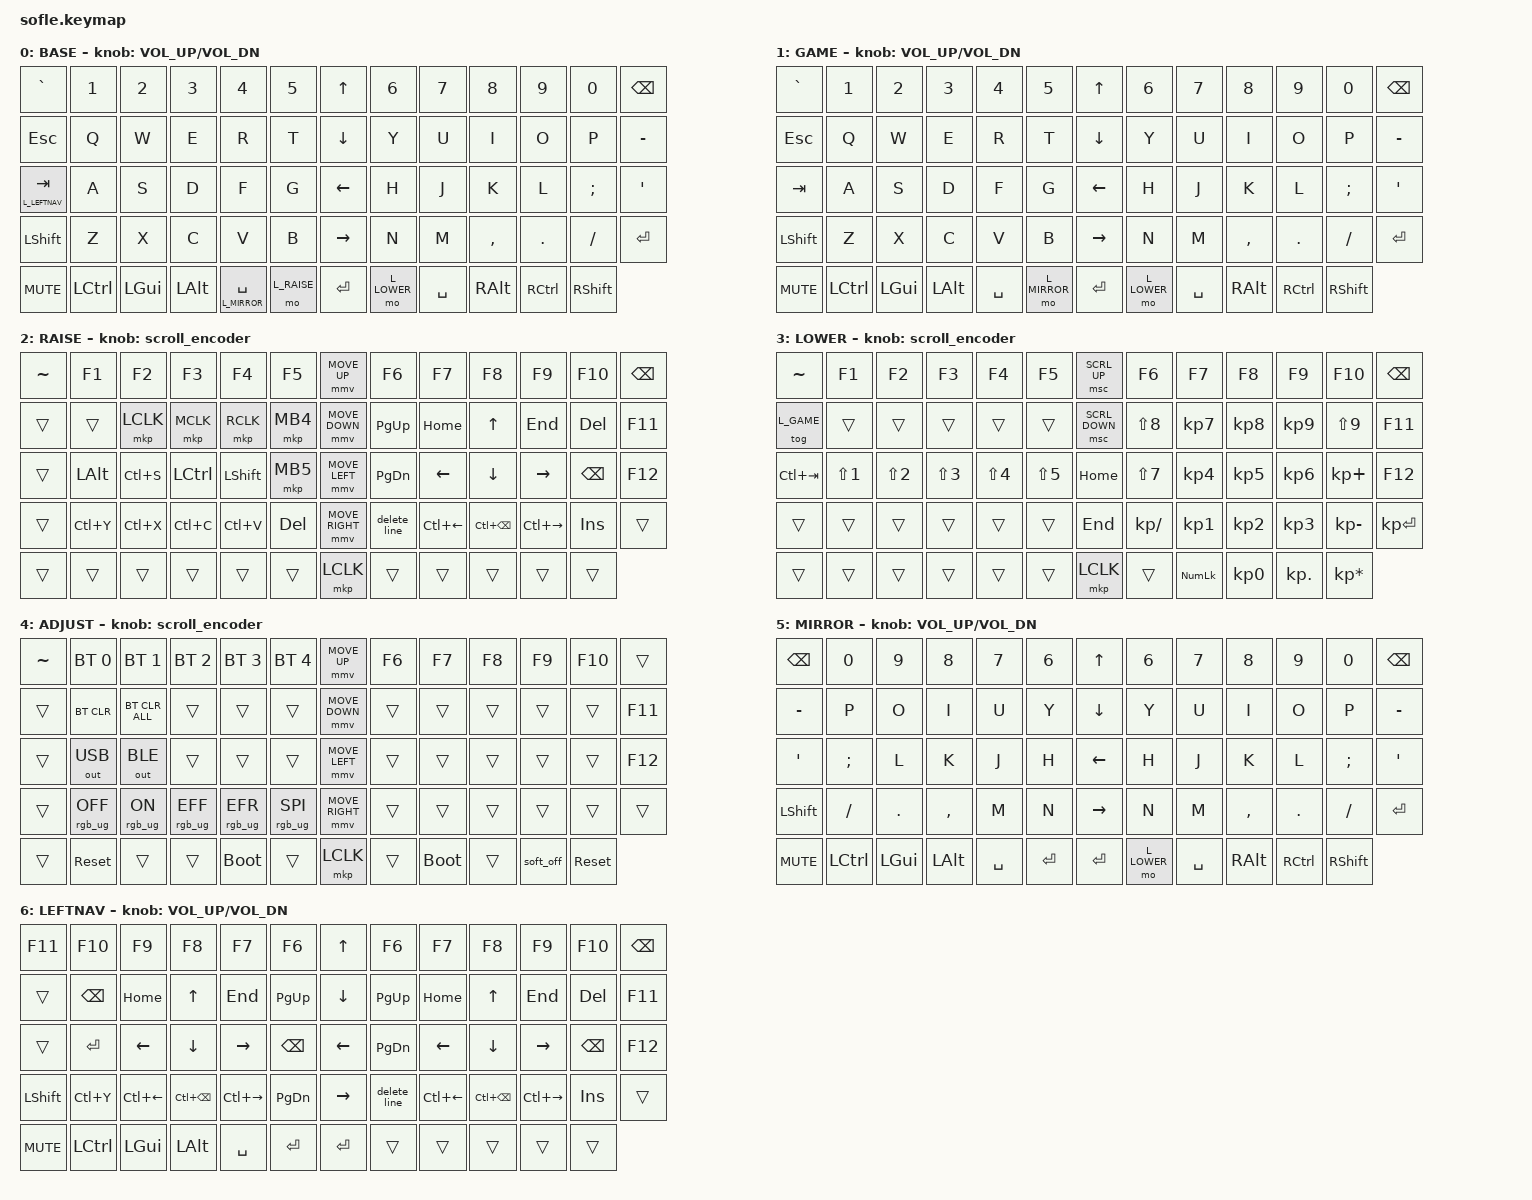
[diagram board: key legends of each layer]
#include <behaviors/mouse_keys.dtsi>
#include <behaviors.dtsi>
#include <dt-bindings/zmk/bt.h>
#include <dt-bindings/zmk/keys.h>
#include <dt-bindings/zmk/mouse.h>
#include <dt-bindings/zmk/outputs.h>
#include <dt-bindings/zmk/rgb.h>

#define ZMK_MOUSE_DEFAULT_MOVE_VAL 1200  // 600
#define ZMK_MOUSE_DEFAULT_SCRL_VAL 20    // 10
#define U_MS_U &mmv MOVE_UP
#define U_MS_D &mmv MOVE_DOWN
#define U_MS_L &mmv MOVE_LEFT
#define U_MS_R &mmv MOVE_RIGHT
#define ZMK_MOUSE_DEFAULT_MOVE_VAL 1200  //  600
#define ZMK_MOUSE_DEFAULT_SCRL_VAL 20    // 10

#define L_BASE 0
#define L_GAME 1
#define L_RAISE 2
#define L_LOWER 3
#define L_ADJUST 4
#define L_MIRROR 5
#define L_LEFTNAV 6

// &lt {
    // hold-while-undecided;
    // hold-trigger-on-release;
// };

/ {
    behaviors {
        mmv {
            acceleration-exponent = <1>;      // 1
            time-to-max-speed-ms = <900>;    // 40
            delay-ms = <0>;                   // 0
        };

        msc {
            acceleration-exponent = <0>;      // 0
            time-to-max-speed-ms = <0>;      // 500
            delay-ms = <0>;                   //   10
        };

        my_lt: mod_tap {
            compatible = "zmk,behavior-hold-tap";
            #binding-cells = <2>;
            flavor = "hold-preferred";
            tapping-term-ms = <200>;
            retro-tap;
            bindings = <&mo>, <&kp>;
            display-name = "HP Layer-Tap";
        };

        tde: tap_dance_e {
            compatible = "zmk,behavior-tap-dance";
            #binding-cells = <0>;
            tapping-term-ms = <185>;
            bindings = <&kp E>, <&kp SEMI>; // e, é
        };

        tdi: tap_dance_i {
            compatible = "zmk,behavior-tap-dance";
            #binding-cells = <0>;
            tapping-term-ms = <185>;
            bindings = <&kp I>, <&kp NUBS>; // i, í
        };

        tdue: tap_dance_ue {
            compatible = "zmk,behavior-tap-dance";
            #binding-cells = <0>;
            tapping-term-ms = <185>;
            bindings = <&kp MINUS>, <&kp BSLH>; // ü, ű
        };

        tdu: tap_dance_u {
            compatible = "zmk,behavior-tap-dance";
            #binding-cells = <0>;
            tapping-term-ms = <185>;
            bindings = <&kp U>, <&kp RIGHT_BRACKET>; // u, ú
        };

        tdoe: tap_dance_oe {
            compatible = "zmk,behavior-tap-dance";
            #binding-cells = <0>;
            tapping-term-ms = <185>;
            bindings = <&kp N0>, <&kp LEFT_BRACKET>; // ö, ő
        };
        tdo: tap_dance_o {
            compatible = "zmk,behavior-tap-dance";
            #binding-cells = <0>;
            tapping-term-ms = <185>;
            bindings = <&kp O>, <&kp EQUAL>; // o, ó
        };

    };

    combos {
        compatible = "zmk,combos";
        combo_co {
            timeout-ms = <50>;
            key-positions = <23 36>;
            bindings = <&kp EQUAL>;
            layers = < L_BASE >;
        };
        combo_ci {
            timeout-ms = <50>;
            key-positions = <22 35>;
            bindings = <&kp NUBS>;
            layers = < L_BASE >;
        };
        combo_cu {
            timeout-ms = <50>;
            key-positions = <21 34>;
            bindings = <&kp RIGHT_BRACKET>;
            layers = < L_BASE >;
        };
        combo_cue {
            timeout-ms = <50>;
            key-positions = <24 25>;
            bindings = <&kp BSLH>;
            layers = < L_BASE >;
        };
        combo_coe {
            timeout-ms = <50>;
            key-positions = <11 24>;
            bindings = <&kp LEFT_BRACKET>;
            layers = < L_BASE >;
        };
        combo_co_mirror {
            timeout-ms = <50>;
            key-positions = <15 28>;
            bindings = <&kp EQUAL>;
            layers = < L_MIRROR >;
        };
        combo_ci_mirror {
            timeout-ms = <50>;
            key-positions = <16 29>;
            bindings = <&kp NUBS>;
            layers = < L_MIRROR >;
        };
        combo_cu_mirror {
            timeout-ms = <50>;
            key-positions = <17 30>;
            bindings = <&kp RIGHT_BRACKET>;
            layers = < L_MIRROR >;
        };
        combo_cue_mirror {
            timeout-ms = <50>;
            key-positions = <13 14>;
            bindings = <&kp BSLH>;
            layers = < L_MIRROR >;
        };
        combo_coe_mirror {
            timeout-ms = <50>;
            key-positions = <1 14>;
            bindings = <&kp LEFT_BRACKET>;
            layers = < L_MIRROR >;
        };
        combo_qu {
            timeout-ms = <50>;
            key-positions = <14 27>;
            bindings = <&macro_qu>;
            layers = < L_BASE >;
        };
        // combo_up {
        //     timeout-ms = <50>;
        //     key-positions = <21 22>;
        //     bindings = <&kp UP_ARROW>;
        //     layers = < L_BASE >;
        // };
        // combo_up2 {
        //     timeout-ms = <50>;
        //     key-positions = <34 22>;
        //     bindings = <&kp UP_ARROW>;
        //     layers = < L_BASE >;
        // };
        // combo_left {
        //     timeout-ms = <50>;
        //     key-positions = <34 35>;
        //     bindings = <&kp LEFT_ARROW>;
        //     layers = < L_BASE >;
        // };
        // combo_right {
        //     timeout-ms = <50>;
        //     key-positions = <35 36>;
        //     bindings = <&kp RIGHT_ARROW>;
        //     layers = < L_BASE >;
        // };
        // combo_down {
        //     timeout-ms = <50>;
        //     key-positions = <47 48>;
        //     bindings = <&kp DOWN_ARROW>;
        //     layers = < L_BASE >;
        // };
        // combo_down2 {
        //     timeout-ms = <50>;
        //     key-positions = <35 47>;
        //     bindings = <&kp DOWN_ARROW>;
        //     layers = < L_BASE >;
        // };
        // combo_down3 {
        //     timeout-ms = <50>;
        //     key-positions = <34 48>;
        //     bindings = <&kp DOWN_ARROW>;
        //     layers = < L_BASE >;
        // };
    };

    macros {
        alt_space: alt_space {
            compatible = "zmk,behavior-macro";
            #binding-cells = <0>;
            bindings
                = <&macro_press &kp LALT>
                , <&macro_tap &kp SPACE>
                , <&macro_release &kp LALT>
                ;
        };
        delete_line: delete_line {
            compatible = "zmk,behavior-macro";
            #binding-cells = <0>;
            bindings
                = <&macro_tap &kp HOME>
                , <&macro_tap &kp LS(END)>
                , <&macro_tap &kp DEL>
                ;
        };
        macro_qu: macro_qu {
            compatible = "zmk,behavior-macro";
            #binding-cells = <0>;
            bindings
                = <&macro_tap &kp Q>
                , <&macro_tap &kp U>
                ;
        };
    };

    conditional_layers {
        compatible = "zmk,conditional-layers";
        tri_layer {
            if-layers = < L_RAISE L_LOWER >;
            then-layer = < L_ADJUST >;
        };
    };

    scroll_encoder: scroll_encoder {
        compatible = "zmk,behavior-sensor-rotate";
        #sensor-binding-cells = <0>;
        bindings = <&msc SCRL_DOWN>, <&msc SCRL_UP>;

        tap-ms = <30>;
    };


    keymap {
        compatible = "zmk,keymap";

        layer0 {
            bindings = <
&kp GRAVE              &kp N1     &kp N2        &kp N3        &kp N4                   &kp N5       &kp UP_ARROW     &kp N6      &kp N7     &kp N8         &kp N9           &kp N0           &kp BACKSPACE
&kp ESC                &kp Q      &kp W         &kp E         &kp R                    &kp T        &kp DOWN_ARROW   &kp Y       &kp U      &kp I          &kp O            &kp P            &kp MINUS
&my_lt L_LEFTNAV TAB   &kp A      &kp S         &kp D         &kp F                    &kp G        &kp LEFT_ARROW   &kp H       &kp J      &kp K          &kp L            &kp SEMI         &kp APOS
&kp LSHFT              &kp Z      &kp X         &kp C         &kp V                    &kp B        &kp RIGHT_ARROW  &kp N       &kp M      &kp COMMA      &kp DOT          &kp FSLH         &kp ENTER
&kp C_MUTE             &kp LCTRL  &kp LEFT_GUI  &kp LEFT_ALT  &my_lt L_MIRROR SPACE    &mo L_RAISE  &kp ENTER        &mo L_LOWER &kp SPACE  &kp RIGHT_ALT  &kp RCTRL        &kp RIGHT_SHIFT
            >;

            sensor-bindings = <&inc_dec_kp C_VOLUME_UP C_VOL_DN>;
            display-name = "BASE";
        };

        layer_1 {
            bindings = <
&kp GRAVE              &kp N1     &kp N2        &kp N3        &kp N4       &kp N5       &kp UP_ARROW     &kp N6      &kp N7     &kp N8         &kp N9           &kp N0           &kp BACKSPACE
&kp ESC                &kp Q      &kp W         &kp E         &kp R        &kp T        &kp DOWN_ARROW   &kp Y       &kp U      &kp I          &kp O            &kp P            &kp MINUS
&kp TAB                &kp A      &kp S         &kp D         &kp F        &kp G        &kp LEFT_ARROW   &kp H       &kp J      &kp K          &kp L            &kp SEMI         &kp APOS
&kp LSHFT              &kp Z      &kp X         &kp C         &kp V        &kp B        &kp RIGHT_ARROW  &kp N       &kp M      &kp COMMA      &kp DOT          &kp FSLH         &kp ENTER
&kp C_MUTE             &kp LCTRL  &kp LEFT_GUI  &kp LEFT_ALT  &kp SPACE    &mo L_MIRROR &kp ENTER        &mo L_LOWER &kp SPACE  &kp RIGHT_ALT  &kp RCTRL        &kp RIGHT_SHIFT
            >;

            sensor-bindings = <&inc_dec_kp C_VOLUME_UP C_VOL_DN>;
            display-name = "GAME";
        };

        layer_2 {
            bindings = <
&kp TILDE   &kp F1           &kp F2          &kp F3           &kp F4           &kp F5             &mmv MOVE_UP     &kp F6           &kp F7           &kp F8       &kp F9         &kp F10           &kp BACKSPACE
&trans      &trans           &mkp LCLK       &mkp MCLK        &mkp RCLK        &mkp MB4           &mmv MOVE_DOWN   &kp PG_UP        &kp HOME         &kp UP       &kp END        &kp DEL           &kp F11
&trans      &kp LALT         &kp LC(S)       &kp LCTRL        &kp LSHFT        &mkp MB5           &mmv MOVE_LEFT   &kp PG_DN        &kp LEFT         &kp DOWN     &kp RIGHT      &kp BSPC          &kp F12
&trans      &kp LC(Y)        &kp LC(X)       &kp LC(C)        &kp LC(V)        &kp DEL            &mmv MOVE_RIGHT  &delete_line     &kp LC(LEFT)     &kp LC(BSPC) &kp LC(RIGHT)  &kp INSERT        &trans
&trans      &trans           &trans          &trans           &trans           &trans             &mkp LCLK        &trans           &trans           &trans       &trans         &trans
            >;

            display-name = "RAISE";
            sensor-bindings = <&scroll_encoder>;
        };

        layer_3 {
            bindings = <
&kp TILDE   &kp F1        &kp F2          &kp F3        &kp F4        &kp F5     &msc SCRL_UP     &kp F6        &kp F7          &kp F8      &kp F9       &kp F10         &kp BACKSPACE
&tog L_GAME &trans        &trans          &trans        &trans        &trans     &msc SCRL_DOWN   &kp LS(N8)    &kp KP_N7       &kp KP_N8   &kp KP_N9    &kp LS(N9)      &kp F11
&kp LC(TAB) &kp LS(N1)    &kp LS(N2)      &kp LS(N3)    &kp LS(N4)    &kp LS(N5) &kp HOME         &kp LS(N7)    &kp KP_N4       &kp KP_N5   &kp KP_N6    &kp KP_PLUS     &kp F12
&trans      &trans        &trans          &trans        &trans        &trans     &kp END          &kp KP_DIVIDE &kp KP_N1       &kp KP_N2   &kp KP_N3    &kp KP_MINUS    &kp KP_ENTER
&trans      &trans        &trans          &trans        &trans        &trans     &mkp LCLK        &trans        &kp KP_NUMLOCK  &kp KP_N0   &kp KP_DOT   &kp KP_MULTIPLY
            >;

            display-name = "LOWER";
            sensor-bindings = <&scroll_encoder>;
        };

        layer_4 {
            bindings = <
&kp TILDE  &bt BT_SEL 0     &bt BT_SEL 1    &bt BT_SEL 2     &bt BT_SEL 3     &bt BT_SEL 4     &mmv MOVE_UP     &kp F6  &kp F7       &kp F8     &kp F9      &kp F10     &trans
&trans     &bt BT_CLR       &bt BT_CLR_ALL  &trans           &trans           &trans           &mmv MOVE_DOWN   &trans  &trans       &trans     &trans      &trans      &kp F11
&trans     &out OUT_USB     &out OUT_BLE    &trans           &trans           &trans           &mmv MOVE_LEFT   &trans  &trans       &trans     &trans      &trans      &kp F12
&trans     &rgb_ug RGB_OFF  &rgb_ug RGB_ON  &rgb_ug RGB_EFF  &rgb_ug RGB_EFR  &rgb_ug RGB_SPI  &mmv MOVE_RIGHT  &trans  &trans       &trans     &trans      &trans      &trans
&trans     &sys_reset       &trans          &trans           &bootloader      &trans           &mkp LCLK        &trans  &bootloader  &trans     &soft_off   &sys_reset
            >;

            display-name = "ADJUST";
            sensor-bindings = <&scroll_encoder>;
        };

        layer_5 {
            bindings = <
&kp BACKSPACE &kp N0     &kp N9        &kp N8        &kp N7       &kp N6       &kp UP_ARROW     &kp N6      &kp N7     &kp N8         &kp N9           &kp N0           &kp BACKSPACE
&kp MINUS     &kp P      &kp O         &kp I         &kp U        &kp Y        &kp DOWN_ARROW   &kp Y       &kp U      &kp I          &kp O            &kp P            &kp MINUS
&kp APOS      &kp SEMI   &kp L         &kp K         &kp J        &kp H        &kp LEFT_ARROW   &kp H       &kp J      &kp K          &kp L            &kp SEMI         &kp APOS
&kp LSHFT     &kp FSLH   &kp DOT       &kp COMMA     &kp M        &kp N        &kp RIGHT_ARROW  &kp N       &kp M      &kp COMMA      &kp DOT          &kp FSLH         &kp ENTER
&kp C_MUTE    &kp LCTRL  &kp LEFT_GUI  &kp LEFT_ALT  &kp SPACE    &kp ENTER    &kp ENTER        &mo L_LOWER &kp SPACE  &kp RIGHT_ALT  &kp RCTRL        &kp RIGHT_SHIFT
            >;

            sensor-bindings = <&inc_dec_kp C_VOLUME_UP C_VOL_DN>;
            display-name = "MIRROR";
        };

        layer_6 {
            bindings = <
&kp F11     &kp F10      &kp F9       &kp F8        &kp F7        &kp F6       &kp UP_ARROW     &kp F6           &kp F7           &kp F8       &kp F9         &kp F10           &kp BACKSPACE
&trans      &kp BSPC     &kp HOME     &kp UP        &kp END       &kp PG_UP    &kp DOWN_ARROW   &kp PG_UP        &kp HOME         &kp UP       &kp END        &kp DEL           &kp F11
&trans      &kp ENTER    &kp LEFT     &kp DOWN      &kp RIGHT     &kp BSPC     &kp LEFT_ARROW   &kp PG_DN        &kp LEFT         &kp DOWN     &kp RIGHT      &kp BSPC          &kp F12
&kp LSHFT   &kp LC(Y)    &kp LC(LEFT) &kp LC(BSPC)  &kp LC(RIGHT) &kp PG_DN    &kp RIGHT_ARROW  &delete_line     &kp LC(LEFT)     &kp LC(BSPC) &kp LC(RIGHT)  &kp INSERT        &trans
&kp C_MUTE  &kp LCTRL    &kp LEFT_GUI &kp LEFT_ALT  &kp SPACE     &kp ENTER    &kp ENTER        &trans           &trans           &trans       &trans         &trans 
            >;

            sensor-bindings = <&inc_dec_kp C_VOLUME_UP C_VOL_DN>;
            display-name = "LEFTNAV";
        };

    };
};
